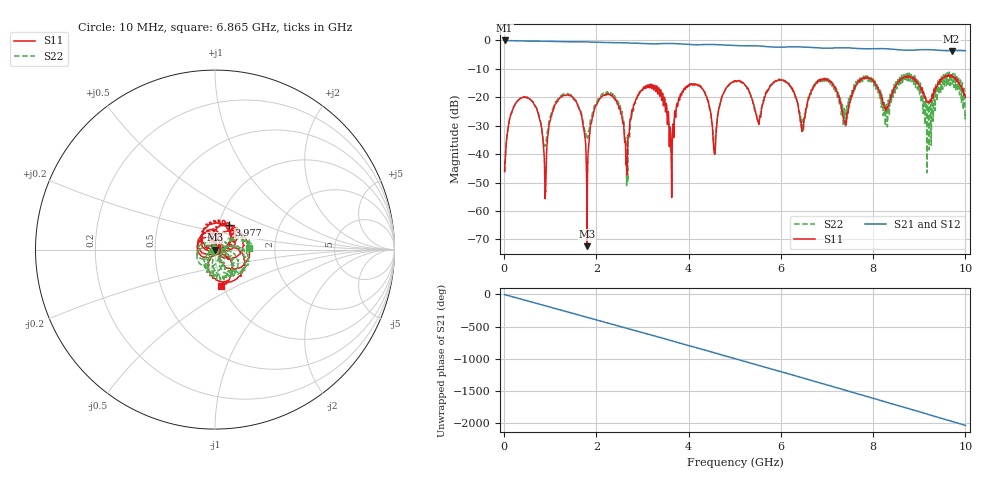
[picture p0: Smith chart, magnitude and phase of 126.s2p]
!Keysight Technologies,E5080B,MY59205177,A.15.75.32
!Date: Friday, February 23, 2024 03:38:29
!Correction: S11(Cdelta 2-Port  )
!S21(Cdelta 2-Port  )
!S12(Cdelta 2-Port  )
!S22(Cdelta 2-Port  )
!S2P File: Measurements: S11, S21, S12, S22:
# Hz S  dB  R 50
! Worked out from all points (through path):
!   10001 points, 10 MHz to 10 GHz, reference 50 ohm
!   highest |S21| = -0.01 dB at 10 MHz (marker M1); lowest = -3.7 dB at 9.701 GHz (marker M2)
!   group delay of S21, straight-line fit = 565 ps
!   lowest |S11| = -72.4 dB at 1.798 GHz (marker M3), VSWR 1.00, Z = 50 + j0.0211 ohm
!   |S11| at or under -10 dB: start of sweep to end of sweep
!   |S22| runs from -51.0 to -11.1 dB; largest |S21 - S12| = 0.0016
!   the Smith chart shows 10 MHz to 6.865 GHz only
!   S11 on the Smith chart (normalised r, x): 10 MHz: 1.01, -0.00; 3.977 GHz: 1.12, +0.32; 6.865 GHz: 0.98, -0.42
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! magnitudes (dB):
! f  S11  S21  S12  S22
! 10 MHz  -46.1  0.0  0.0  -45.9
! 372.6 MHz  -20.2  -0.2  -0.2  -20.1
! 888.1 MHz  -54.9  -0.3  -0.3  -37.0
! 1.177 GHz  -20.8  -0.4  -0.4  -20.2
! 1.675 GHz  -26.2  -0.5  -0.5  -25.7
! 1.798 GHz  -72.4  -0.5  -0.5  -33.3
! 2.108 GHz  -19.8  -0.7  -0.7  -19.0
! 2.663 GHz  -47.4  -0.9  -0.9  -43.2
! 2.892 GHz  -19.3  -1.0  -1.0  -20.1
! 3.341 GHz  -17.4  -1.2  -1.2  -17.6
! 3.627 GHz  -47.1  -1.1  -1.1  -41.9
! 3.977 GHz  -16.0  -1.4  -1.4  -16.0
! 4.561 GHz  -39.6  -1.4  -1.4  -38.6
! 5.005 GHz  -14.2  -1.8  -1.8  -14.5
! 5.516 GHz  -29.2  -1.9  -2.0  -28.4
! 6.107 GHz  -14.7  -2.3  -2.3  -14.8
! 6.464 GHz  -31.5  -2.3  -2.3  -27.8
! 6.67 GHz  -17.3  -2.5  -2.5  -17.0
! 6.865 GHz  -13.7  -2.7  -2.7  -14.3
! 8.336 GHz  -22.7  -3.0  -3.0  -21.0
! 9.701 GHz  -12.2  -3.7  -3.7  -13.8
! 10 GHz  -20.0  -3.6  -3.6  -25.4
